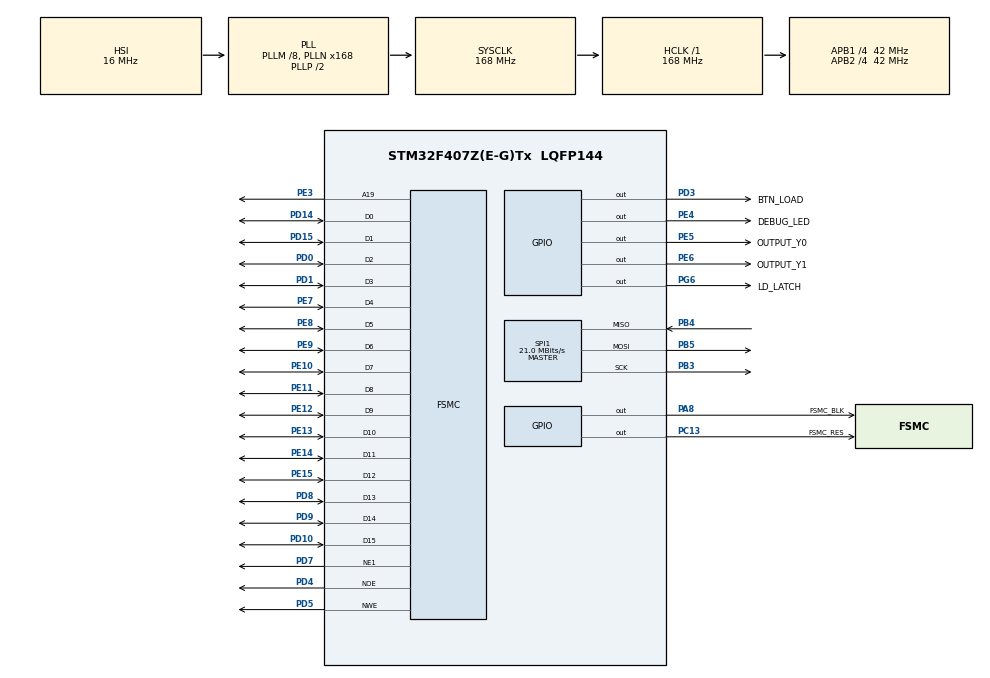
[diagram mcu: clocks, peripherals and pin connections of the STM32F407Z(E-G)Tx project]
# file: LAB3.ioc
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FSMC.AddressSetupTime1=0xf
FSMC.BusTurnAroundDuration1=0
FSMC.DataSetupTime1=60
FSMC.ExtendedAddressSetupTime1=8
FSMC.ExtendedBusTurnAroundDuration1=0
FSMC.ExtendedDataSetupTime1=9
FSMC.ExtendedMode1=FSMC_EXTENDED_MODE_ENABLE
Mcu.Family=STM32F4
Mcu.Name=STM32F407Z(E-G)Tx
Mcu.Package=LQFP144
NVIC.PriorityGroup=NVIC_PRIORITYGROUP_4
NVIC.TIM2_IRQn=true\:0\:0\:false\:false\:true\:true\:true\:true
PA13.Mode=Serial_Wire
PA13.Signal=SYS_JTMS-SWDIO
PA14.Mode=Serial_Wire
PA14.Signal=SYS_JTCK-SWCLK
PA8.GPIO_Label=FSMC_BLK
PA8.Signal=GPIO_Output
PB3.Mode=Full_Duplex_Master
PB3.Signal=SPI1_SCK
PB4.Mode=Full_Duplex_Master
PB4.Signal=SPI1_MISO
PB5.Mode=Full_Duplex_Master
PB5.Signal=SPI1_MOSI
PC13-ANTI_TAMP.GPIO_Label=FSMC_RES
PC13-ANTI_TAMP.Signal=GPIO_Output
PD0.Signal=FSMC_D2_DA2
PD1.Signal=FSMC_D3_DA3
PD10.Signal=FSMC_D15_DA15
PD14.Signal=FSMC_D0_DA0
PD15.Signal=FSMC_D1_DA1
PD3.GPIO_Label=BTN_LOAD
PD3.Signal=GPIO_Output
PD4.Signal=FSMC_NOE
PD5.Signal=FSMC_NWE
PD7.Mode=NorPsramChipSelect1_1
PD7.Signal=FSMC_NE1
PD8.Signal=FSMC_D13_DA13
PD9.Signal=FSMC_D14_DA14
PE10.Signal=FSMC_D7_DA7
PE11.Signal=FSMC_D8_DA8
PE12.Signal=FSMC_D9_DA9
PE13.Signal=FSMC_D10_DA10
PE14.Signal=FSMC_D11_DA11
PE15.Signal=FSMC_D12_DA12
PE3.Signal=FSMC_A19
PE4.GPIO_Label=DEBUG_LED
PE4.Signal=GPIO_Output
PE5.GPIO_Label=OUTPUT_Y0
PE5.Signal=GPIO_Output
PE6.GPIO_Label=OUTPUT_Y1
PE6.Signal=GPIO_Output
PE7.Signal=FSMC_D4_DA4
PE8.Signal=FSMC_D5_DA5
PE9.Signal=FSMC_D6_DA6
PG6.GPIO_Label=LD_LATCH
PG6.Signal=GPIO_Output
PH0-OSC_IN.Mode=HSE-External-Oscillator
PH0-OSC_IN.Signal=RCC_OSC_IN
PH1-OSC_OUT.Mode=HSE-External-Oscillator
PH1-OSC_OUT.Signal=RCC_OSC_OUT
ProjectManager.HeapSize=0x200
ProjectManager.StackSize=0x400
ProjectManager.TargetToolchain=STM32CubeIDE
RCC.48MHZClocksFreq_Value=84000000
RCC.AHBFreq_Value=168000000
RCC.APB1CLKDivider=RCC_HCLK_DIV4
RCC.APB1Freq_Value=42000000
RCC.APB1TimFreq_Value=84000000
RCC.APB2CLKDivider=RCC_HCLK_DIV4
RCC.APB2Freq_Value=42000000
RCC.APB2TimFreq_Value=84000000
RCC.CortexFreq_Value=168000000
RCC.HCLKFreq_Value=168000000
RCC.HSE_VALUE=8000000
RCC.HSI_VALUE=16000000
RCC.LSE_VALUE=32768
RCC.PLLM=8
RCC.PLLN=168
RCC.SYSCLKFreq_VALUE=168000000
RCC.SYSCLKSource=RCC_SYSCLKSOURCE_PLLCLK
RCC.VCOOutputFreq_Value=336000000
SH.FSMC_A19.0=FSMC_A19,A19_1
SH.FSMC_D0_DA0.0=FSMC_D0,16b-d1
SH.FSMC_D10_DA10.0=FSMC_D10,16b-d1
SH.FSMC_D11_DA11.0=FSMC_D11,16b-d1
SH.FSMC_D12_DA12.0=FSMC_D12,16b-d1
SH.FSMC_D13_DA13.0=FSMC_D13,16b-d1
SH.FSMC_D14_DA14.0=FSMC_D14,16b-d1
SH.FSMC_D15_DA15.0=FSMC_D15,16b-d1
SH.FSMC_D1_DA1.0=FSMC_D1,16b-d1
SH.FSMC_D2_DA2.0=FSMC_D2,16b-d1
SH.FSMC_D3_DA3.0=FSMC_D3,16b-d1
SH.FSMC_D4_DA4.0=FSMC_D4,16b-d1
SH.FSMC_D5_DA5.0=FSMC_D5,16b-d1
SH.FSMC_D6_DA6.0=FSMC_D6,16b-d1
SH.FSMC_D7_DA7.0=FSMC_D7,16b-d1
SH.FSMC_D8_DA8.0=FSMC_D8,16b-d1
SH.FSMC_D9_DA9.0=FSMC_D9,16b-d1
SH.FSMC_NOE.0=FSMC_NOE,Lcd1
SH.FSMC_NWE.0=FSMC_NWE,Lcd1
SPI1.CalculateBaudRate=21.0 MBits/s
SPI1.Direction=SPI_DIRECTION_2LINES
SPI1.Mode=SPI_MODE_MASTER
SPI1.VirtualType=VM_MASTER
TIM2.Period=99
TIM2.Prescaler=839
VP_TIM2_VS_ClockSourceINT.Mode=Internal
board=custom

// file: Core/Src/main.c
/* USER CODE BEGIN Header */
/**
  ******************************************************************************
  * @file           : main.c
  * @brief          : Main program body
  ******************************************************************************
  * @attention
  *
  * Copyright (c) 2024 STMicroelectronics.
  * All rights reserved.
  *
  * This software is licensed under terms that can be found in the LICENSE file
  * in the root directory of this software component.
  * If no LICENSE file comes with this software, it is provided AS-IS.
  *
  ******************************************************************************
  */
/* USER CODE END Header */
#include "main.h"
#include "spi.h"
#include "tim.h"
#include "gpio.h"
#include "fsmc.h"

/* USER CODE BEGIN Includes */
#include "global.h"
#include "fsm_auto.h"
#include "fsm_man.h"
/* USER CODE END Includes */

void SystemClock_Config(void);
/* USER CODE BEGIN PFP */
void system_init();
void test_LedDebug();
void test_LedY0();
void test_LedY1();
void test_7seg();
void keyInput();
/* USER CODE END PFP */

int main(void)
{

  /* MCU Configuration--------------------------------------------------------*/

  /* Reset of all peripherals, Initializes the Flash interface and the Systick. */
  HAL_Init();

  /* Configure the system clock */
  SystemClock_Config();

  /* Initialize all configured peripherals */
  MX_GPIO_Init();
  MX_SPI1_Init();
  MX_TIM2_Init();
  MX_FSMC_Init();
  /* USER CODE BEGIN 2 */
  system_init();
  led7_SetColon(1);
  /* USER CODE END 2 */

  /* Infinite loop */
  /* USER CODE BEGIN WHILE */
  fsm_automatic_run();
  while (1)
  {
//	  while(!flag_timer1);
//	  flag_timer1 = 0;
//	  fsm_automatic_run();

	  while(!flag_timer3);
	  flag_timer3 = 0;
	  counter++;
	  button_Scan();
	  keyInput();
	  fsm_manual_run();
	  fsm_automatic_run();

    /* USER CODE END WHILE */

  }
}

void SystemClock_Config(void)
{
  RCC_OscInitTypeDef RCC_OscInitStruct = {0};
  RCC_ClkInitTypeDef RCC_ClkInitStruct = {0};

  /** Configure the main internal regulator output voltage
  */
  __HAL_RCC_PWR_CLK_ENABLE();
  __HAL_PWR_VOLTAGESCALING_CONFIG(PWR_REGULATOR_VOLTAGE_SCALE1);

  /** Initializes the RCC Oscillators according to the specified parameters
  * in the RCC_OscInitTypeDef structure.
  */
  RCC_OscInitStruct.OscillatorType = RCC_OSCILLATORTYPE_HSI;
  RCC_OscInitStruct.HSIState = RCC_HSI_ON;
  RCC_OscInitStruct.HSICalibrationValue = RCC_HSICALIBRATION_DEFAULT;
  RCC_OscInitStruct.PLL.PLLState = RCC_PLL_ON;
  RCC_OscInitStruct.PLL.PLLSource = RCC_PLLSOURCE_HSI;
  RCC_OscInitStruct.PLL.PLLM = 8;
  RCC_OscInitStruct.PLL.PLLN = 168;
  RCC_OscInitStruct.PLL.PLLP = RCC_PLLP_DIV2;
  RCC_OscInitStruct.PLL.PLLQ = 4;
  if (HAL_RCC_OscConfig(&RCC_OscInitStruct) != HAL_OK)
  {
    Error_Handler();
  }

  /** Initializes the CPU, AHB and APB buses clocks
  */
  RCC_ClkInitStruct.ClockType = RCC_CLOCKTYPE_HCLK|RCC_CLOCKTYPE_SYSCLK
                              |RCC_CLOCKTYPE_PCLK1|RCC_CLOCKTYPE_PCLK2;
  RCC_ClkInitStruct.SYSCLKSource = RCC_SYSCLKSOURCE_PLLCLK;
  RCC_ClkInitStruct.AHBCLKDivider = RCC_SYSCLK_DIV1;
  RCC_ClkInitStruct.APB1CLKDivider = RCC_HCLK_DIV4;
  RCC_ClkInitStruct.APB2CLKDivider = RCC_HCLK_DIV4;

  if (HAL_RCC_ClockConfig(&RCC_ClkInitStruct, FLASH_LATENCY_5) != HAL_OK)
  {
    Error_Handler();
  }
}

/* USER CODE BEGIN 4 */
void system_init (){
	HAL_GPIO_WritePin(OUTPUT_Y0_GPIO_Port, OUTPUT_Y0_Pin, RESET);
	HAL_GPIO_WritePin(OUTPUT_Y1_GPIO_Port, OUTPUT_Y1_Pin, RESET);
	HAL_GPIO_WritePin(DEBUG_LED_GPIO_Port, DEBUG_LED_Pin, RESET);
	timer_init();
	led7_init();
	setTimer2(1000);
	setTimer1(1000);
	setTimer3(250);
	button_init();
	lcd_init();
}

uint8_t count_led_debug = 0;
uint8_t count_led_Y0 = 0;
uint8_t count_led_Y1 = 0;

void test_LedDebug(){
	count_led_debug = (count_led_debug + 1)%20;
	if(count_led_debug == 0){
		HAL_GPIO_TogglePin(DEBUG_LED_GPIO_Port, DEBUG_LED_Pin);
	}
}

void test_LedY0(){
	count_led_Y0 = (count_led_Y0+ 1)%100;
	if(count_led_Y0 > 40){
		HAL_GPIO_WritePin(OUTPUT_Y0_GPIO_Port, OUTPUT_Y0_Pin, 1);
	} else {
		HAL_GPIO_WritePin(OUTPUT_Y0_GPIO_Port, OUTPUT_Y0_Pin, 0);
	}
}

void test_LedY1(){
	count_led_Y1 = (count_led_Y1+ 1)%40;
	if(count_led_Y1 > 10){
		HAL_GPIO_WritePin(OUTPUT_Y1_GPIO_Port, OUTPUT_Y1_Pin, 0);
	} else {
		HAL_GPIO_WritePin(OUTPUT_Y0_GPIO_Port, OUTPUT_Y1_Pin, 1);
	}
}

void test_7seg(){
	//write number1 at led index 0 (not show dot)
	led7_SetDigit(1, 0, 0);
	led7_SetDigit(5, 1, 0);
	led7_SetDigit(4, 2, 0);
	led7_SetDigit(7, 3, 0);
}

void keyInput()
{
	switch(status){
		case RED_GREEN:
			if(button_count[0] == 1)
			{
				status = MAN_RED;
				tempRed = redDuration;
				tempGreen = greenDuration;
				tempAmber = amberDuration;
				oldRed = redDuration;
				oldAmber = amberDuration;
				oldGreen = greenDuration;
			}
			break;
		case RED_AMBER:
			if(button_count[0] == 1)
			{
				status = MAN_RED;
				tempRed = redDuration;
				tempGreen = greenDuration;
				tempAmber = amberDuration;
				oldRed = redDuration;
				oldAmber = amberDuration;
				oldGreen = greenDuration;
			}
			break;
		case GREEN_RED:
			if(button_count[0] == 1)
			{
				status = MAN_RED;
				tempRed = redDuration;
				tempGreen = greenDuration;
				tempAmber = amberDuration;
				oldRed = redDuration;
				oldAmber = amberDuration;
				oldGreen = greenDuration;
			}
			break;
		case INIT:
			if(button_count[0] == 1)
			{
				status = MAN_RED;
				tempRed = redDuration;
				tempGreen = greenDuration;
				tempAmber = amberDuration;
				oldRed = redDuration;
				oldAmber = amberDuration;
				oldGreen = greenDuration;
			}
			break;
		case MAN_RED:

			if(button_count[0] == 1)
			{
//				if(button_count[2] != 1)
//				{
//					redDuration = tempRed;
//				}
				status = MAN_AMBER;
				mode = 3;
			}
			if(button_count[1] == 1 && mode == 2)
			{
				tempRed += 1000;
				if (tempRed > 99000)
				{
					tempRed = 1000;
				}
			}
			if(button_count[2] == 1)
			{
				redDuration = tempRed;
			}
			break;
		case MAN_AMBER:

			if (button_count[0] == 1)
			{
//				if(button_count[2] != 1)
//				{
//					amberDuration = tempAmber;
//				}
				status = MAN_GREEN;
				mode = 4;
			}
			if (button_count[1] == 1  && mode == 3)
			{
				tempAmber += 1000;
				if (tempAmber > 99000)
				{
					tempAmber = 1000;
				}
			}
			if(button_count[2] == 1)
			{
				amberDuration = tempAmber;
			}
			break;
		case MAN_GREEN:

			if (button_count[0] == 1)
			{
//				if(button_count[2] != 1)
//				{
//					greenDuration = tempGreen;
//				}
				if (redDuration == (greenDuration + amberDuration))
				{
					status = RED_GREEN;
					redCounter = redDuration / 1000;
					greenCounter = greenDuration / 1000;
					amberCounter = amberDuration / 1000;
					mode = 1;
					HAL_GPIO_TogglePin(DEBUG_LED_GPIO_Port, DEBUG_LED_Pin);
				}
				else
				{
					status = ERROR;
				}
			}
			if (button_count[1] == 1 && mode == 4)
			{
				tempGreen += 1000;
				if (tempGreen > 99000)
				{
					tempGreen = 1000;
				}
			}
			if(button_count[2] == 1)
			{
				greenDuration = tempGreen;
			}

			break;
	}
}
/* USER CODE END 4 */

void Error_Handler(void)
{
  __disable_irq();
  while (1)
  {
  }
}
